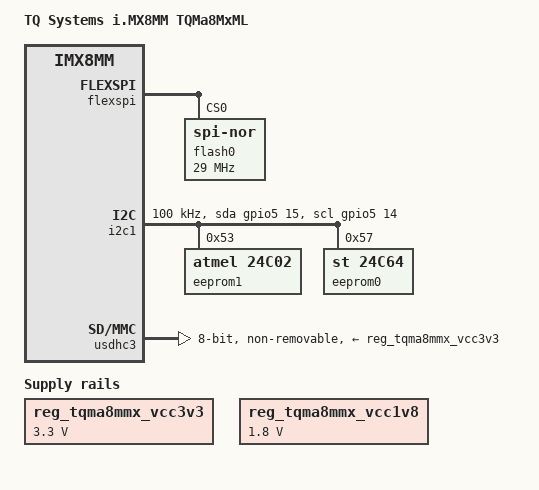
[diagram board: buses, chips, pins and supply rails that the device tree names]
// SPDX-License-Identifier: GPL-2.0+
/*
 * Copyright 2020 - 2021 TQ-Systems GmbH
 */

#include "fsl-imx8mm.dtsi"

/ {
	model = "TQ Systems i.MX8MM TQMa8MxML";
	compatible = "tq,tqma8mxml", "fsl,imx8mm";

	config {
		/* 32 kiB redundant env */
		u-boot,mmc-env-offset = <0x400000>;
		u-boot,mmc-env-offset-redundant = <0x408000>;
	};

	reg_tqma8mmx_vcc3v3: regulator-vcc3v3 {
		compatible = "regulator-fixed";
		regulator-name = "TQMA8MMX_VCC3V3";
		regulator-min-microvolt = <3300000>;
		regulator-max-microvolt = <3300000>;
		regulator-always-on;
	};

	reg_tqma8mmx_vcc1v8: regulator-vcc1v8 {
		compatible = "regulator-fixed";
		regulator-name = "TQMA8MMX_VCC1V8";
		regulator-min-microvolt = <1800000>;
		regulator-max-microvolt = <1800000>;
		regulator-always-on;
	};
};

&flexspi {
	pinctrl-names = "default";
	pinctrl-0 = <&pinctrl_flexspi>;
	spi-max-frequency = <29000000>;
	num-cs = <1>;
	status = "okay";

	flash0: flash@0 {
		reg = <0>;
		#address-cells = <1>;
		#size-cells = <1>;
		compatible = "jedec,spi-nor";
		spi-tx-bus-width = <1>;
		spi-rx-bus-width = <1>;
		spi-max-frequency = <29000000>;
		spi-nor,ddr-quad-read-dummy = <8>;
	};
};

&iomuxc {
	pinctrl-names = "default";
	pinctrl-0 = <&pinctrl_wdog>;
	/*
	Pad Control Register

	| 0  | 0    | 0   | 0   | 0x   | 00x |
	| PE | HYS  | PUE | ODE | FSEL | DSE |

	PE: Pull Resistors Enable
	HYS: Hysteresis Enable

	PUE:
	0 — Select pull-down resistors
	1 — Select pull-up resistors

	ODE: Open Drain Enable

	FSEL:
	0x - Select slow slew rate (SR=1)
	1x — Select fast slew rate (SR=0)

	DSE:
	00x — Drive strength X1
	10x — Drive strength X2
	01x — Drive strength X4
	11x — Drive strength X6

	GPIO: 0x84 [HYS|slow|X2] (no pull up)
	I2C: 0x40000004 [SION|slow|x2] (no pull up)
	USDHC: 0x1D4 [HYS|fast|x2] (pull up)
	USDHC100: 0x1D2 [HYS|fast|x4] (pull up)
	USDHC200: 0x1D6 [HYS|fast|x6] (pull up)
	*/

	pinctrl_i2c1: i2c1grp {
		fsl,pins = <
			MX8MM_IOMUXC_I2C1_SCL_I2C1_SCL		0x40000004
			MX8MM_IOMUXC_I2C1_SDA_I2C1_SDA		0x40000004
		>;
	};

	pinctrl_i2c1_gpio: i2c1gpiogrp {
		fsl,pins = <
			MX8MM_IOMUXC_I2C1_SCL_GPIO5_IO14	0x40000004
			MX8MM_IOMUXC_I2C1_SDA_GPIO5_IO15	0x40000004
		>;
	};

	pinctrl_flexspi: flexspigrp {
		fsl,pins = <
			MX8MM_IOMUXC_NAND_ALE_QSPI_A_SCLK		0x184
			MX8MM_IOMUXC_NAND_CE0_B_QSPI_A_SS0_B		0x84
			MX8MM_IOMUXC_NAND_DATA00_QSPI_A_DATA0		0x84
			MX8MM_IOMUXC_NAND_DATA01_QSPI_A_DATA1		0x84
			MX8MM_IOMUXC_NAND_DATA02_QSPI_A_DATA2		0x84
			MX8MM_IOMUXC_NAND_DATA03_QSPI_A_DATA3		0x84
		>;
	};

	pinctrl_emmc: usdhc3grp {
		fsl,pins = <
			MX8MM_IOMUXC_NAND_WE_B_USDHC3_CLK		0x1d4
			MX8MM_IOMUXC_NAND_WP_B_USDHC3_CMD		0x1d4
			MX8MM_IOMUXC_NAND_DATA04_USDHC3_DATA0		0x1d4
			MX8MM_IOMUXC_NAND_DATA05_USDHC3_DATA1		0x1d4
			MX8MM_IOMUXC_NAND_DATA06_USDHC3_DATA2		0x1d4
			MX8MM_IOMUXC_NAND_DATA07_USDHC3_DATA3		0x1d4
			MX8MM_IOMUXC_NAND_RE_B_USDHC3_DATA4		0x1d4
			MX8MM_IOMUXC_NAND_CE2_B_USDHC3_DATA5		0x1d4
			MX8MM_IOMUXC_NAND_CE3_B_USDHC3_DATA6		0x1d4
			MX8MM_IOMUXC_NAND_CLE_USDHC3_DATA7		0x1d4
			MX8MM_IOMUXC_NAND_CE1_B_USDHC3_STROBE		0x84
			/* option USDHC3_RESET_B not defined, only in RM */
			MX8MM_IOMUXC_NAND_READY_B_GPIO3_IO16		0x84
		>;
	};

	pinctrl_emmc_100mhz: usdhc3grp100mhz {
		fsl,pins = <
			MX8MM_IOMUXC_NAND_WE_B_USDHC3_CLK		0x1d2
			MX8MM_IOMUXC_NAND_WP_B_USDHC3_CMD		0x1d2
			MX8MM_IOMUXC_NAND_DATA04_USDHC3_DATA0		0x1d2
			MX8MM_IOMUXC_NAND_DATA05_USDHC3_DATA1		0x1d2
			MX8MM_IOMUXC_NAND_DATA06_USDHC3_DATA2		0x1d2
			MX8MM_IOMUXC_NAND_DATA07_USDHC3_DATA3		0x1d2
			MX8MM_IOMUXC_NAND_RE_B_USDHC3_DATA4		0x1d2
			MX8MM_IOMUXC_NAND_CE2_B_USDHC3_DATA5		0x1d2
			MX8MM_IOMUXC_NAND_CE3_B_USDHC3_DATA6		0x1d2
			MX8MM_IOMUXC_NAND_CLE_USDHC3_DATA7		0x1d2
			MX8MM_IOMUXC_NAND_CE1_B_USDHC3_STROBE		0x84
			/* option USDHC3_RESET_B not defined, only in RM */
			MX8MM_IOMUXC_NAND_READY_B_GPIO3_IO16		0x84
		>;
	};

	pinctrl_emmc_200mhz: usdhc3grp200mhz {
		fsl,pins = <
			MX8MM_IOMUXC_NAND_WE_B_USDHC3_CLK		0x1d6
			MX8MM_IOMUXC_NAND_WP_B_USDHC3_CMD		0x1d6
			MX8MM_IOMUXC_NAND_DATA04_USDHC3_DATA0		0x1d6
			MX8MM_IOMUXC_NAND_DATA05_USDHC3_DATA1		0x1d6
			MX8MM_IOMUXC_NAND_DATA06_USDHC3_DATA2		0x1d6
			MX8MM_IOMUXC_NAND_DATA07_USDHC3_DATA3		0x1d6
			MX8MM_IOMUXC_NAND_RE_B_USDHC3_DATA4		0x1d6
			MX8MM_IOMUXC_NAND_CE2_B_USDHC3_DATA5		0x1d6
			MX8MM_IOMUXC_NAND_CE3_B_USDHC3_DATA6		0x1d6
			MX8MM_IOMUXC_NAND_CLE_USDHC3_DATA7		0x1d6
			MX8MM_IOMUXC_NAND_CE1_B_USDHC3_STROBE		0x84
			/* option USDHC3_RESET_B not defined, only in RM */
			MX8MM_IOMUXC_NAND_READY_B_GPIO3_IO16		0x84
		>;
	};

	pinctrl_wdog: wdoggrp {
		fsl,pins = <
			MX8MM_IOMUXC_GPIO1_IO02_WDOG1_WDOG_B		0x84
		>;
	};
};

&i2c1 {
	clock-frequency = <100000>;
	pinctrl-names = "default", "gpio";
	pinctrl-0 = <&pinctrl_i2c1>;
	pinctrl-1 = <&pinctrl_i2c1_gpio>;
	scl-gpios = <&gpio5 14 GPIO_ACTIVE_HIGH>;
	sda-gpios = <&gpio5 15 GPIO_ACTIVE_HIGH>;
	status = "okay";

	eeprom1: eeprom@53 {
		compatible = "atmel,24c02";
		reg = <0x53>;
		pagesize = <16>;
		status = "okay";
	};

	eeprom0: eeprom@57 {
		compatible = "st,24c64", "atmel,24c64", "at24";
		reg = <0x57>;
		pagesize = <32>;
		status = "okay";
	};

};

&usdhc3 {
	pinctrl-names = "default", "state_100mhz", "state_200mhz";
	pinctrl-0 = <&pinctrl_emmc>;
	pinctrl-1 = <&pinctrl_emmc_100mhz>;
	pinctrl-2 = <&pinctrl_emmc_200mhz>;
	bus-width = <8>;
	non-removable;
	no-sd;
	no-sdio;
	mmc-hs400-1_8v;
	vmmc-supply = <&reg_tqma8mmx_vcc3v3>;
	vqmmc-supply = <&reg_tqma8mmx_vcc1v8>;
	status = "okay";
};
